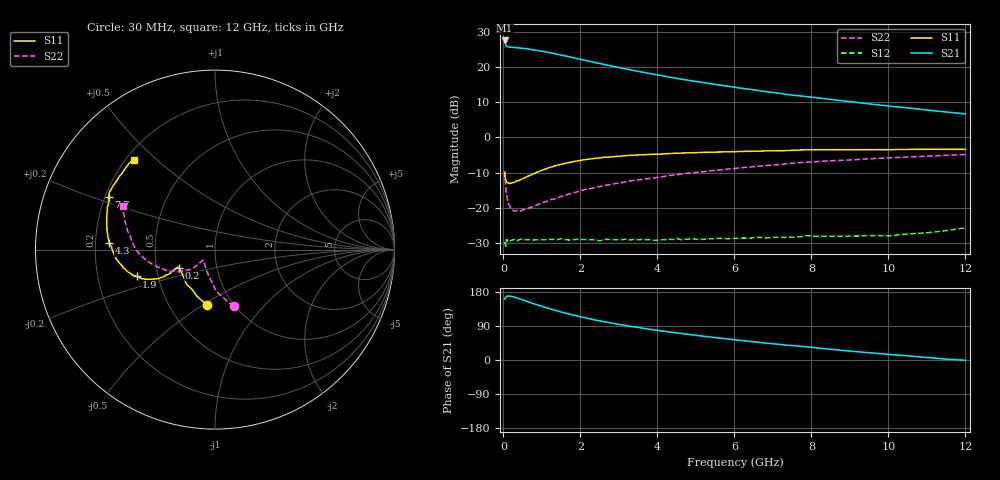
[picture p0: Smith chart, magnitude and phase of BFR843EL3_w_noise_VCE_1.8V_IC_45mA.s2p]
! Infineon Technologies  Discrete & RF Semiconductors
! BFR843EL3
! VCE =  1.8 V,  IC =  45 mA
! Common Emitter S-Parameters:  Aug 2013
# GHz  S  MA  R  50
!  f  S11  S21  S12  S22
! GHz  MAG  ANG  MAG  ANG  MAG  ANG  MAG  ANG
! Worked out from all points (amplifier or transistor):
!   103 points, 30 MHz to 12 GHz, reference 50 ohm
!   highest |S21| = 27.5 dB at 30 MHz (marker M1)
!   |S21| within 3 dB of that: start of sweep to 963.8 MHz
!   unconditionally stable (mu >= 1): 55.87 MHz to 66.86 MHz; 85.14 MHz to 1.494 GHz; 1.509 GHz to end of sweep
!   at 400 MHz: K = 1.04, MAG = 26.0 dB, |S12| = -29.1 dB
!   at 3.7 GHz: K = 1.16, MAG = 21.2 dB, |S12| = -29.0 dB
!   at 12 GHz: K = 1.85, MAG = 10.9 dB, |S12| = -25.7 dB
!   lowest NFmin = 1.64 dB at 450 MHz
!   S11 on the Smith chart (normalised r, x): 30 MHz: 0.76, -0.52; 200 MHz: 0.66, -0.14; 1.9 GHz: 0.38, -0.14; 4.3 GHz: 0.26, +0.03; 7.7 GHz: 0.21, +0.22; 12 GHz: 0.23, +0.42
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0.03  0.3135 -98.1  23.84 160.6  0.0313 30.1  0.3329 -71.8
0.04  0.277 -112.0  22.16 162.3  0.0319 20.2  0.2668 -81.0
0.06  0.2496 -129.5  20.48 165.6  0.0285 18.3  0.1926 -93.1
0.08  0.2333 -137.5  19.89 167.4  0.035 12.3  0.1557 -102.7
0.14  0.2237 -150.2  19.31 168.8  0.0347 6.4  0.1107 -118.7
0.2  0.2237 -153.3  19.11 168.0  0.0345 4.9  0.0963 -126.5
0.6  0.2752 -152.6  18.18 155.0  0.035 3.5  0.0971 -139.1
0.8  0.3066 -152.5  17.48 148.0  0.0349 4.2  0.1057 -138.8
1  0.3413 -152.7  16.75 141.6  0.0351 5.0  0.118 -139.3
1.4  0.4026 -155.6  15.17 129.4  0.0351 4.3  0.1378 -139.1
1.9  0.461 -161.1  13.21 116.3  0.0357 6.1  0.1678 -140.2
2.1  0.4821 -162.9  12.52 111.6  0.0355 5.5  0.1817 -142.0
2.6  0.5207 -168.6  10.9 101.2  0.0356 6.7  0.2049 -145.1
3.1  0.5463 -173.5  9.585 92.2  0.0353 8.6  0.2294 -148.1
4.1  0.5807 177.8  7.558 76.8  0.0352 11.9  0.275 -154.2
4.3  0.5891 176.3  7.202 73.9  0.0358 12.8  0.2865 -155.5
5.1  0.6106 170.1  6.108 63.8  0.036 15.9  0.3202 -161.5
6.1  0.6302 163.3  5.065 52.3  0.0366 18.9  0.367 -168.1
7.7  0.6611 153.7  3.892 36.3  0.0387 23.1  0.4378 -179.6
8.5  0.6699 147.9  3.467 28.2  0.0396 24.4  0.4659 174.1
10.5  0.6744 137.7  2.63 11.0  0.0426 34.5  0.5274 162.2
12  0.6751 132.2  2.159 -0.9  0.052 42.0  0.5696 154.5
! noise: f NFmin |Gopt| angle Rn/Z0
0.45  1.64  0.27  181  0.12
0.9  1.67  0.29  182  0.12
1.5  1.68  0.3  183  0.11
1.9  1.69  0.31  -177  0.12
2.4  1.7  0.33  188  0.11
3.5  1.72  0.36  193  0.12
5.5  1.76  0.42  203  0.11
8  1.81  0.52  216  0.14
10  1.84  0.57  232  0.2
